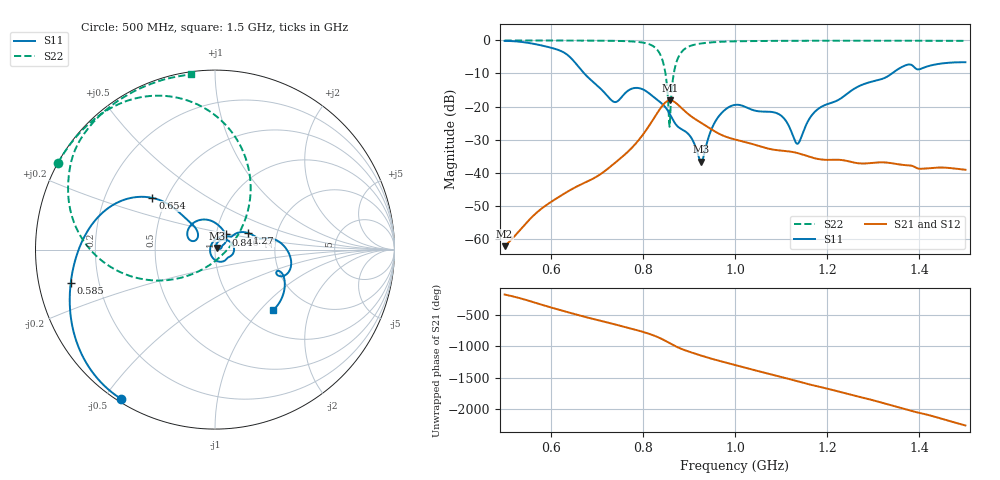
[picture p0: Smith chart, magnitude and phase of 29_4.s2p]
! TOUCHSTONE file generated by CST MICROWAVE STUDIO
! Date and time: Wed Oct 28 19:18:52 2020
! Project name: Scenario_1_Circular_Tissue_out_of_Line.cst
! Parameters = {dy1=139.548; L_HA=400; MT=2.54; Rad_Dielectric=30; Rad_Lower=7.3; Rad_Upper=30; a_HA=580; a_WG=246; b_HA=500; b_WG=121; c_HA=0; c_WG=187; d_feed=85; dx1=693; h_feed=15; h_lower=18; h_upper=40}
! Header version: 2018
! Port assignment regex: !\s*Touchstone port\s*([0-9]+)\s*=\s*(CST MWS port|CST DS port)\s*([0-9]+|Zmin|Zmax)\s*\(\"(.*)\"\)(\s*mode\s*([0-9]+))?.*
! Touchstone port assignment:
! Touchstone port 1 = CST MWS port 1 ("")
! Touchstone port 2 = CST MWS port 2 ("")
# GHz S DB R 50
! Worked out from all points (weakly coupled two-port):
!   1001 points, 500 MHz to 1.5 GHz, reference 50 ohm
!   highest |S21| = -18.15 dB at 859 MHz (marker M1); lowest = -62.3 dB at 500 MHz (marker M2)
!   lowest |S11| = -36.7 dB at 927 MHz (marker M3), VSWR 1.03, Z = 51.1 + j0.985 ohm
!   |S11| at or under -10 dB: 672.8 MHz to 1.341 GHz (667.8 MHz wide, 66.3 % of centre)
!   |S22| runs from -26.2 to 0.0 dB; largest |S21 - S12| = 2.8e-06
!   S11 on the Smith chart (normalised r, x): 500 MHz: 0.01, -0.55; 585 MHz: 0.10, -0.11; 654 MHz: 0.42, +0.30; 846 MHz: 1.11, +0.19; 1.27 GHz: 1.41, +0.28; 1.5 GHz: 1.37, -1.18
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0.5  -0.15 -122.3  -62.28 -170.6  -62.28 -170.6  -0.01 151.2
0.585  -1.67 -167.0  -50.40 16.9  -50.40 16.9  -0.02 145.3
0.654  -6.89 140.5  -44.41 -126.8  -44.41 -126.8  -0.04 139.6
0.667  -9.09 135.4  -43.51 -152.9  -43.51 -152.9  -0.04 138.4
0.737  -18.58 145.0  -37.35 77.5  -37.35 77.5  -0.12 129.8
0.779  -14.48 140.6  -32.08 -3.3  -32.08 -3.3  -0.33 120.6
0.834  -18.28 71.2  -21.40 -135.4  -21.40 -135.4  -3.35 83.6
0.846  -19.76 55.1  -19.17 -178.1  -19.17 -178.1  -7.75 61.0
0.855  -21.42 42.1  -18.25 145.8  -18.25 145.8  -18.66 24.2
0.859  -22.39 37.2  -18.15 129.5  -18.15 129.5  -24.02 -88.3
0.869  -24.90 31.0  -18.65 90.3  -18.65 90.3  -8.67 -152.1
0.879  -26.43 29.7  -19.82 56.0  -19.82 56.0  -4.56 -170.8
0.927  -36.70 41.2  -24.97 -66.6  -24.97 -66.6  -0.91 155.2
0.959  -24.14 58.0  -27.76 -135.9  -27.76 -135.9  -0.48 147.2
1  -19.51 5.6  -29.98 145.3  -29.98 145.3  -0.27 140.3
1.096  -22.38 -63.0  -33.30 -38.1  -33.30 -38.1  -0.13 130.1
1.135  -31.29 177.7  -34.07 -114.9  -34.07 -114.9  -0.11 126.8
1.167  -22.59 69.9  -35.45 -175.6  -35.45 -175.6  -0.09 124.2
1.27  -13.78 27.1  -37.21 -4.7  -37.21 -4.8  -0.08 116.4
1.334  -10.64 12.8  -37.04 -129.4  -37.04 -129.4  -0.09 111.5
1.375  -7.32 -9.5  -37.81 148.9  -37.81 148.9  -0.09 108.3
1.5  -6.60 -46.0  -39.15 -101.2  -39.14 -101.2  -0.13 97.9
